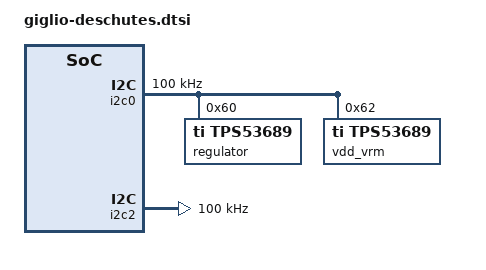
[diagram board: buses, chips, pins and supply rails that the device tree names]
// SPDX-License-Identifier: GPL-2.0

&i2c0 {
	clock-frequency = <100000>;
	status = "okay";

	regulator@60 {
		compatible = "ti,tps53689";
		reg = <0x60>;
	};
	vdd_vrm@62 {
		compatible = "ti,tps53689";
		reg = <0x62>;
	};
};

&i2c2 {
	clock-frequency = <100000>;
	status = "okay";

	temp-sensor@4c {
		status = "disabled";
	};

	rtc@51 {
		status = "disabled";
	};

	regulator@62 {
		status = "disabled";
	};
};
